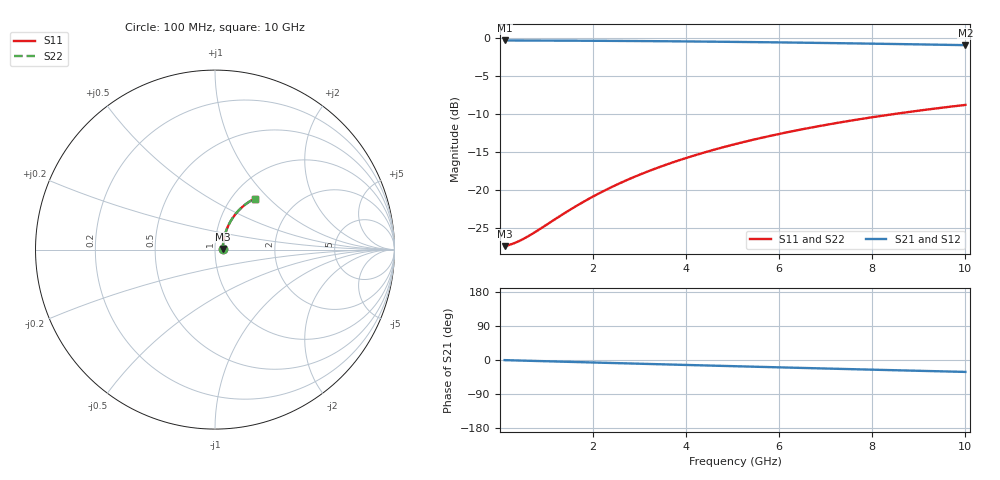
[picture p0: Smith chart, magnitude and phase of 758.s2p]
# Hz S RI R 50.00
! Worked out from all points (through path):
!   100 points, 100 MHz to 10 GHz, reference 50 ohm
!   highest |S21| = -0.38 dB at 100 MHz (marker M1); lowest = -1.0 dB at 10 GHz (marker M2)
!   group delay of S21, straight-line fit = 8.75 ps
!   lowest |S11| = -27.4 dB at 100 MHz (marker M3), VSWR 1.09, Z = 54.4 + j0.405 ohm
!   |S11| at or under -10 dB: start of sweep to 8.526 GHz
!   |S22| runs from -27.4 to -8.9 dB; largest |S21 - S12| = 0
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1e8  0.0424 0.00372  0.9576 -0.00551  0.9576 -0.00551  0.0424 0.00372
2e8  0.0427 0.00743  0.9573 -0.011  0.9573 -0.011  0.0427 0.00743
3e8  0.043 0.0111  0.9569 -0.0165  0.9569 -0.0165  0.043 0.0111
4e8  0.0433 0.0148  0.9566 -0.022  0.9566 -0.022  0.0433 0.0148
6e8  0.044 0.0222  0.9559 -0.033  0.9559 -0.033  0.044 0.0222
8e8  0.0448 0.0296  0.9551 -0.0439  0.9551 -0.0439  0.0448 0.0296
1.4e9  0.0481 0.0516  0.9516 -0.0766  0.9516 -0.0766  0.0481 0.0516
1.8e9  0.051 0.066  0.9484 -0.0982  0.9484 -0.0982  0.051 0.066
2.2e9  0.0546 0.0803  0.9446 -0.1197  0.9446 -0.1197  0.0546 0.0803
2.6e9  0.0587 0.0944  0.9401 -0.1409  0.9401 -0.1409  0.0587 0.0944
3e9  0.0635 0.1082  0.935 -0.1619  0.935 -0.1619  0.0635 0.1082
3.4e9  0.0689 0.1218  0.9292 -0.1827  0.9292 -0.1827  0.0689 0.1218
3.8e9  0.0749 0.135  0.9227 -0.2031  0.9227 -0.2031  0.0749 0.135
4.2e9  0.0814 0.1479  0.9157 -0.2232  0.9157 -0.2232  0.0814 0.1479
4.6e9  0.0884 0.1604  0.908 -0.2429  0.908 -0.2429  0.0884 0.1604
5.1e9  0.0979 0.1756  0.8977 -0.267  0.8977 -0.267  0.0979 0.1756
5.9e9  0.1147 0.1984  0.8795 -0.3042  0.8795 -0.3042  0.1147 0.1984
6.7e9  0.1332 0.2193  0.8593 -0.3397  0.8593 -0.3397  0.1332 0.2193
7.5e9  0.1531 0.2384  0.8375 -0.3732  0.8375 -0.3732  0.1531 0.2384
8.4e9  0.1769 0.2573  0.8113 -0.4085  0.8113 -0.4085  0.1769 0.2573
9.2e9  0.1991 0.272  0.7866 -0.4378  0.7866 -0.4378  0.1991 0.272
1e10  0.2221 0.2845  0.761 -0.465  0.761 -0.465  0.2221 0.2845
